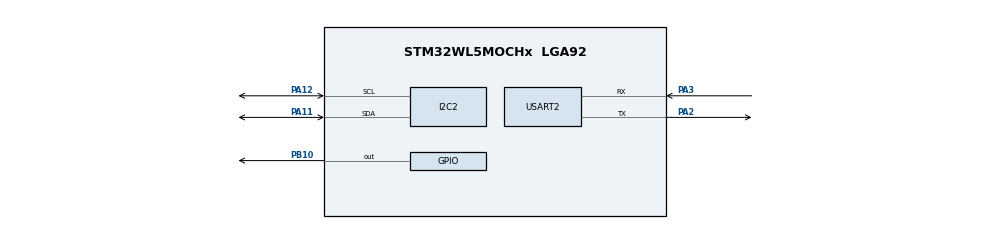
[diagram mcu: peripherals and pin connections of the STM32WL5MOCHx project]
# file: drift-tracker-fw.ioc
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I2C2.Timing=0x00100D14
Mcu.Family=STM32WL
Mcu.Name=STM32WL5MOCHx
Mcu.Package=LGA92
NVIC.PriorityGroup=NVIC_PRIORITYGROUP_4
NVIC.SUBGHZ_Radio_IRQn=true\:0\:0\:false\:false\:true\:true\:true\:true
NVIC.USART2_IRQn=true\:0\:0\:false\:false\:true\:true\:true\:true
PA11.Mode=I2C
PA11.Signal=I2C2_SDA
PA12.Mode=I2C
PA12.Signal=I2C2_SCL
PA2.Mode=Asynchronous
PA2.Signal=USART2_TX
PA3.Mode=Asynchronous
PA3.Signal=USART2_RX
PB10.Signal=GPIO_Output
ProjectManager.HeapSize=0x200
ProjectManager.StackSize=0x400
ProjectManager.TargetToolchain=STM32CubeIDE
RCC.HSE_VALUE=32000000
RCC.HSI_VALUE=16000000
RCC.LSE_VALUE=32768
RCC.VCOOutputFreq_Value=32000000
USART2.VirtualMode-Asynchronous=VM_ASYNC
VP_SUBGHZ_VS_SUBGHZ.Mode=SUBGHZ_Activate
board=custom

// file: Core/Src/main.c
/* USER CODE BEGIN Header */
/**
  ******************************************************************************
  * @file           : main.c
  * @brief          : Main program body
  ******************************************************************************
  * @attention
  *
  * Copyright (c) 2025 STMicroelectronics.
  * All rights reserved.
  *
  * This software is licensed under terms that can be found in the LICENSE file
  * in the root directory of this software component.
  * If no LICENSE file comes with this software, it is provided AS-IS.
  *
  ******************************************************************************
  */
/* USER CODE END Header */
#include "main.h"

/* USER CODE BEGIN Includes */
#include <string.h>
#include "stm32wlxx_hal.h"
//#include <radio.h>
#include "radio_utils.h"

/* USER CODE END Includes */

/* USER CODE BEGIN PTD */
#define TRANSMIT 0
#define UART_BUFFER_SIZE 8
#define Teseo_I2C_Addr 0x3A
#define I2C_BUF_SIZE 180

static const char *gpgga_msg = "$PSTMNMEAREQUEST,2,0\n\r";
static const char *gpgll_msg = "$PSTMNMEAREQUEST,100000,0\n\r";
char read_buf[I2C_BUF_SIZE];
char msg_buf[I2C_BUF_SIZE];  // Buffer to hold valid messages
uint8_t rxBuffer[1];  // Buffer to store received data
int UART_RX_FLAG = 0;

//UART_HandleTypeDef huart2;  // Make sure this matches your CubeMX config
//uint8_t uartBuffer[UART_BUFFER_SIZE];   // UART receive buffer
uint8_t gpsBuffer[UART_BUFFER_SIZE];
/* USER CODE END PTD */

I2C_HandleTypeDef hi2c2;

SUBGHZ_HandleTypeDef hsubghz;

UART_HandleTypeDef huart2;

void SystemClock_Config(void);
static void MX_GPIO_Init(void);
static void MX_SUBGHZ_Init(void);
static void MX_USART2_UART_Init(void);
static void MX_I2C2_Init(void);
/* USER CODE BEGIN PFP */
void uart_print(char *msg) {
	HAL_UART_Transmit(&huart2, (uint8_t*)msg, strlen(msg), HAL_MAX_DELAY);
}

void HAL_UART_RxCpltCallback(UART_HandleTypeDef *huart) {
//	HAL_UART_Receive_IT(&huart2, rxBuffer, sizeof(rxBuffer));
//	uart_print("getting in callback");
    if (huart->Instance == USART2) {
        // Handle received data
//    	uart_print("received!");
        HAL_UART_Receive_IT(&huart2, rxBuffer, sizeof(rxBuffer)); // Re-enable interrupt for next reception
    }
}
/* USER CODE END PFP */

int main(void)
{

  /* USER CODE BEGIN 1 */
	// Configure PB2 and PB10 as output
	__HAL_RCC_GPIOB_CLK_ENABLE();
	GPIO_InitTypeDef GPIO_InitStruct = {0};
	GPIO_InitStruct.Pin = GPIO_PIN_2 | GPIO_PIN_10 | GPIO_PIN_1;
	GPIO_InitStruct.Mode = GPIO_MODE_OUTPUT_PP;
	GPIO_InitStruct.Pull = GPIO_NOPULL;
	GPIO_InitStruct.Speed = GPIO_SPEED_FREQ_LOW;
	HAL_GPIO_Init(GPIOB, &GPIO_InitStruct);

	HAL_GPIO_WritePin(GPIOB, GPIO_PIN_2, 1);
	HAL_GPIO_WritePin(GPIOB, GPIO_PIN_1, 1);
  /* USER CODE END 1 */

  /* MCU Configuration--------------------------------------------------------*/

  /* Reset of all peripherals, Initializes the Flash interface and the Systick. */
  HAL_Init();

  /* Configure the system clock */
  SystemClock_Config();

  /* Initialize all configured peripherals */
  MX_GPIO_Init();
  MX_SUBGHZ_Init();
  MX_USART2_UART_Init();
  MX_I2C2_Init();
  /* USER CODE BEGIN 2 */

  HAL_UART_Receive_IT(&huart2, rxBuffer, sizeof(rxBuffer));
  Radio_Init();

//  HAL_NVIC_SetPriority(USART2_IRQn, 0, 0);
//  HAL_NVIC_EnableIRQ(USART2_IRQn);

  /* USER CODE END 2 */

  /* Infinite loop */
  /* USER CODE BEGIN WHILE */
  uint32_t lastToggleTime = 0;
  while (1)
	{
	  HAL_UART_Receive_IT(&huart2, rxBuffer, sizeof(rxBuffer));
//	uart_print(".");
	uint32_t currentTime = HAL_GetTick(); // Get current time in ms

	if ((currentTime - lastToggleTime) >= 1000) { // Check if 250ms have passed
		HAL_GPIO_TogglePin(GPIOB, GPIO_PIN_10); // Toggle LED
		//		HAL_GPIO_TogglePin(GPIOB, GPIO_PIN_2);
		lastToggleTime = currentTime; // Update the last toggle time
//		uart_print(".");
	}

	if ((TRANSMIT) & (~TRANSMIT_FLAG)) {
		// read over I2C
		HAL_I2C_Master_Transmit(&hi2c2, Teseo_I2C_Addr <<1, (uint8_t *)gpgga_msg, strlen(gpgga_msg), 2000);

		memset(read_buf, 0, I2C_BUF_SIZE);  // Clear buffer before read

		if (HAL_I2C_Master_Receive(&hi2c2, Teseo_I2C_Addr << 1, read_buf, I2C_BUF_SIZE - 1, 2000) != HAL_OK) {
			uart_print("I2C Read Error!\n"); // debug messaging
		}
		else {
		read_buf[I2C_BUF_SIZE - 1] = '\0';  // Ensure null termination
		// Extract valid NMEA messages
		uint8_t *start = NULL;
		for (uint8_t *ptr = read_buf; *ptr; ptr++) {
			if (*ptr == '$') {
				start = ptr;  // Start of an NMEA message
			}
			if (*ptr == '\n' && start) {
				size_t length = ptr - start + 1;  // Include \n in the message

				if (length < I2C_BUF_SIZE) {
					memcpy(msg_buf, start, length);
					msg_buf[length] = '\0';  // Null-terminate the extracted message
//	                uart_print(msg_buf);
//	                // Check if message starts with "$GPGGA"
					if (strncmp((char*)msg_buf, "$GPGGA", 6) == 0) {
						uart_print(msg_buf);
	                    Radio_Transmit(msg_buf, 70);
					}

				}
				start = NULL;  // Reset for the next message
			}
		}
		}
	}

	if (TRANSMIT == 0) { // RECEIVE MODE
//		print_last();
		if (strchr(rxBuffer, '?') != NULL) {
		        print_last();
		        memset(rxBuffer, 0, sizeof(rxBuffer)); // Clear the buffer
		    }
//		//print lenght of received segment until \0
//		uint8_t *start = NULL;
//		for (uint8_t *ptr = rxBuffer; *ptr; ptr++) {
//			uart_print("here2");
//			if (*ptr == '$') {
//				start = ptr;  // Start of an NMEA message
//			}
//			if (*ptr == '\n' && start) {
//				uart_print("here");
//				size_t length = ptr - start + 1;
//				uint8_t buffer[10];
//				sprintf(buffer, "Segment Length,%d\n", length);
//				uart_print(buffer);
//			}
//		}
		Receive(1000);
	}

    /* USER CODE END WHILE */

  }
}

void SystemClock_Config(void)
{
  RCC_OscInitTypeDef RCC_OscInitStruct = {0};
  RCC_ClkInitTypeDef RCC_ClkInitStruct = {0};

  /** Configure the main internal regulator output voltage
  */
  __HAL_PWR_VOLTAGESCALING_CONFIG(PWR_REGULATOR_VOLTAGE_SCALE2);

  /** Initializes the CPU, AHB and APB buses clocks
  */
  RCC_OscInitStruct.OscillatorType = RCC_OSCILLATORTYPE_MSI;
  RCC_OscInitStruct.MSIState = RCC_MSI_ON;
  RCC_OscInitStruct.MSICalibrationValue = RCC_MSICALIBRATION_DEFAULT;
  RCC_OscInitStruct.MSIClockRange = RCC_MSIRANGE_6;
  RCC_OscInitStruct.PLL.PLLState = RCC_PLL_NONE;
  if (HAL_RCC_OscConfig(&RCC_OscInitStruct) != HAL_OK)
  {
    Error_Handler();
  }

  /** Configure the SYSCLKSource, HCLK, PCLK1 and PCLK2 clocks dividers
  */
  RCC_ClkInitStruct.ClockType = RCC_CLOCKTYPE_HCLK3|RCC_CLOCKTYPE_HCLK
                              |RCC_CLOCKTYPE_SYSCLK|RCC_CLOCKTYPE_PCLK1
                              |RCC_CLOCKTYPE_PCLK2;
  RCC_ClkInitStruct.SYSCLKSource = RCC_SYSCLKSOURCE_MSI;
  RCC_ClkInitStruct.AHBCLKDivider = RCC_SYSCLK_DIV1;
  RCC_ClkInitStruct.APB1CLKDivider = RCC_HCLK_DIV1;
  RCC_ClkInitStruct.APB2CLKDivider = RCC_HCLK_DIV1;
  RCC_ClkInitStruct.AHBCLK3Divider = RCC_SYSCLK_DIV1;

  if (HAL_RCC_ClockConfig(&RCC_ClkInitStruct, FLASH_LATENCY_0) != HAL_OK)
  {
    Error_Handler();
  }
}

static void MX_I2C2_Init(void)
{

  hi2c2.Instance = I2C2;
  hi2c2.Init.Timing = 0x00100D14;
  hi2c2.Init.OwnAddress1 = 0;
  hi2c2.Init.AddressingMode = I2C_ADDRESSINGMODE_7BIT;
  hi2c2.Init.DualAddressMode = I2C_DUALADDRESS_DISABLE;
  hi2c2.Init.OwnAddress2 = 0;
  hi2c2.Init.OwnAddress2Masks = I2C_OA2_NOMASK;
  hi2c2.Init.GeneralCallMode = I2C_GENERALCALL_DISABLE;
  hi2c2.Init.NoStretchMode = I2C_NOSTRETCH_DISABLE;
  if (HAL_I2C_Init(&hi2c2) != HAL_OK)
  {
    Error_Handler();
  }

  /** Configure Analogue filter
  */
  if (HAL_I2CEx_ConfigAnalogFilter(&hi2c2, I2C_ANALOGFILTER_ENABLE) != HAL_OK)
  {
    Error_Handler();
  }

  /** Configure Digital filter
  */
  if (HAL_I2CEx_ConfigDigitalFilter(&hi2c2, 0) != HAL_OK)
  {
    Error_Handler();
  }

}

static void MX_SUBGHZ_Init(void)
{

  hsubghz.Init.BaudratePrescaler = SUBGHZSPI_BAUDRATEPRESCALER_8;
  if (HAL_SUBGHZ_Init(&hsubghz) != HAL_OK)
  {
    Error_Handler();
  }

}

static void MX_USART2_UART_Init(void)
{

  huart2.Instance = USART2;
  huart2.Init.BaudRate = 115200;
  huart2.Init.WordLength = UART_WORDLENGTH_8B;
  huart2.Init.StopBits = UART_STOPBITS_1;
  huart2.Init.Parity = UART_PARITY_NONE;
  huart2.Init.Mode = UART_MODE_TX_RX;
  huart2.Init.HwFlowCtl = UART_HWCONTROL_NONE;
  huart2.Init.OverSampling = UART_OVERSAMPLING_16;
  huart2.Init.OneBitSampling = UART_ONE_BIT_SAMPLE_DISABLE;
  huart2.Init.ClockPrescaler = UART_PRESCALER_DIV1;
  huart2.AdvancedInit.AdvFeatureInit = UART_ADVFEATURE_NO_INIT;
  if (HAL_UART_Init(&huart2) != HAL_OK)
  {
    Error_Handler();
  }
  if (HAL_UARTEx_SetTxFifoThreshold(&huart2, UART_TXFIFO_THRESHOLD_1_8) != HAL_OK)
  {
    Error_Handler();
  }
  if (HAL_UARTEx_SetRxFifoThreshold(&huart2, UART_RXFIFO_THRESHOLD_1_8) != HAL_OK)
  {
    Error_Handler();
  }
  if (HAL_UARTEx_DisableFifoMode(&huart2) != HAL_OK)
  {
    Error_Handler();
  }

}

static void MX_GPIO_Init(void)
{
  GPIO_InitTypeDef GPIO_InitStruct = {0};

  /* GPIO Ports Clock Enable */
  __HAL_RCC_GPIOA_CLK_ENABLE();
  __HAL_RCC_GPIOB_CLK_ENABLE();

  /*Configure GPIO pin Output Level */
  HAL_GPIO_WritePin(GPIOB, GPIO_PIN_10, GPIO_PIN_RESET);

  /*Configure GPIO pin : PB10 */
  GPIO_InitStruct.Pin = GPIO_PIN_10;
  GPIO_InitStruct.Mode = GPIO_MODE_OUTPUT_PP;
  GPIO_InitStruct.Pull = GPIO_NOPULL;
  GPIO_InitStruct.Speed = GPIO_SPEED_FREQ_LOW;
  HAL_GPIO_Init(GPIOB, &GPIO_InitStruct);

}

void Error_Handler(void)
{
  __disable_irq();
  while (1)
  {
  }
}
